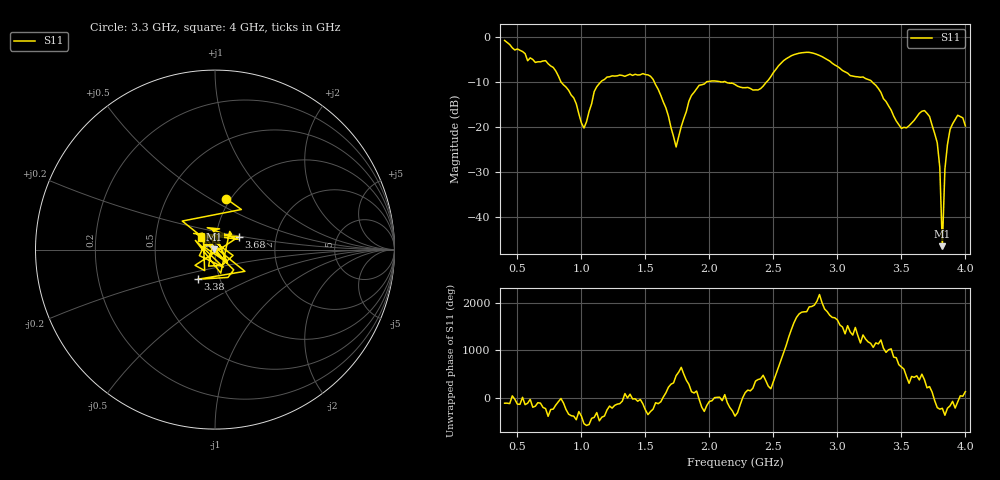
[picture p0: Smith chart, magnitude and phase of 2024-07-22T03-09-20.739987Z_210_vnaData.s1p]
!Created with skrf (http://scikit-rf.org).
# Hz S RI R 50.0
!freq ReS11 ImS11
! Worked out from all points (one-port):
!   181 points, 400 MHz to 4 GHz, reference 50 ohm
!   lowest |S11| = -46.6 dB at 3.82 GHz (marker M1), VSWR 1.01, Z = 49.6 + j0.237 ohm
!   |S11| at or under -10 dB: 1.57 GHz to 1.978 GHz (408 MHz wide, 23 % of centre); 2.127 GHz to 2.447 GHz (319.7 MHz wide, 14 % of centre); 3.271 GHz to end of sweep (the widest 3 of 5)
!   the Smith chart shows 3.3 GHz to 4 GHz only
!   S11 on the Smith chart (normalised r, x): 3.3 GHz: 0.95, +0.59; 3.38 GHz: 0.78, -0.27; 3.68 GHz: 1.29, +0.19; 4 GHz: 0.85, +0.11
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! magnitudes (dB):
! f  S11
! 400 MHz  -0.8
! 720 MHz  -5.3
! 860 MHz  -10.6
! 1.02 GHz  -20.3
! 1.12 GHz  -11.1
! 1.3 GHz  -8.5
! 1.54 GHz  -8.7
! 1.66 GHz  -15.8
! 1.74 GHz  -24.5
! 1.76 GHz  -22.2
! 1.84 GHz  -14.3
! 1.92 GHz  -10.7
! 2.2 GHz  -10.6
! 2.38 GHz  -11.8
! 2.66 GHz  -3.9
! 3.1 GHz  -8.6
! 3.3 GHz  -10.7
! 3.38 GHz  -14.4
! 3.5 GHz  -20.3
! 3.56 GHz  -19.8
! 3.68 GHz  -16.4
! 3.78 GHz  -23.5
! 3.8 GHz  -29.0
! 3.82 GHz  -46.6
! 3.84 GHz  -29.4
! 3.88 GHz  -20.6
! 3.94 GHz  -17.4
! 4 GHz  -19.8
